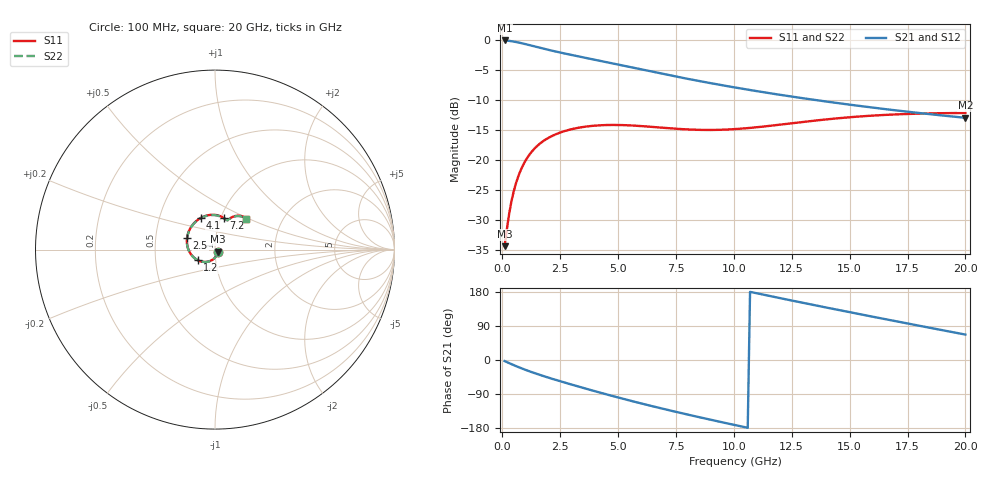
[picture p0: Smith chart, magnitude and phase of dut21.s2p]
! Touchstone file exported from HFSS 2023.1.0
!  File:  D:/Users/fzz/RDL_TSV/temp_RDL_TSV_21_1778743451.aedt
!  Generated:  3:33:27 %x4E0B%x5348  5%x6708 14, 2026
!  Design:  RDL_TSV
!  Project:  temp_RDL_TSV_21_1778743451
!  Setup:  Setup1
!  Solution:  Sweep
! Variables:
!  dtsv = 20.08um
!  hbump = 3um
!  htsv = 97.84um
!  ldown = 483.92um
!  lrdl = 539.47um
!  p = 40
!  p1 = 48.72um
!  rhole = 10um
!  subl = 3609.64um
!  t = 450um
!  tdown = 3.31um
!  trdl = 4.92um
!  viad = 10um
!  wdown = 15.24um
!  wrdl = 27.25um
!  xbump = 18um
# GHz S MA R 50.000000
! Terminal data exported
! Port[1] = TM1_1_T1
! Port[2] = TM1_4_T1
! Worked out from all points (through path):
!   200 points, 100 MHz to 20 GHz, reference 50 ohm
!   highest |S21| = -0.15 dB at 100 MHz (marker M1); lowest = -13.0 dB at 20 GHz (marker M2)
!   group delay of S21, straight-line fit = 38.6 ps
!   lowest |S11| = -34.3 dB at 100 MHz (marker M3), VSWR 1.04, Z = 51.5 - j1.21 ohm
!   |S11| at or under -10 dB: start of sweep to end of sweep
!   |S22| runs from -34.3 to -12.3 dB; largest |S21 - S12| = 1.8e-14
!   S11 on the Smith chart (normalised r, x): 100 MHz: 1.03, -0.02; 1.2 GHz: 0.82, -0.10; 2.5 GHz: 0.73, +0.10; 4.1 GHz: 0.80, +0.29; 7.2 GHz: 1.03, +0.38; 20 GHz: 1.32, +0.49
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0.1  0.01923 -37.7  0.9827 -2.8  0.9827 -2.8  0.01924 -37.7
! Gamma 0 0 0 0
! Port Impedance 50 0 50 0
0.3  0.03609 -78.9  0.9745 -8.4  0.9745 -8.4  0.0361 -78.8
0.5  0.0555 -100.9  0.9616 -13.7  0.9616 -13.7  0.05551 -100.8
0.6  0.06494 -109.4  0.9537 -16.3  0.9537 -16.3  0.06495 -109.3
0.8  0.08266 -124.1  0.9358 -21.2  0.9358 -21.2  0.08266 -124.0
1.2  0.1126 -148.1  0.8958 -30.5  0.8958 -30.5  0.1125 -148.0
1.8  0.1447 -176.7  0.8378 -42.8  0.8378 -42.8  0.1445 -176.5
2.5  0.1689 157.1  0.7801 -56.0  0.7801 -56.0  0.1683 157.4
3.5  0.188 128.3  0.7106 -73.8  0.7106 -73.8  0.187 128.6
4.1  0.1934 114.7  0.6726 -84.0  0.6726 -84.0  0.1922 115.0
4.8  0.1953 101.5  0.6307 -95.6  0.6307 -95.6  0.1939 101.8
5.5  0.1938 90.9  0.5911 -106.9  0.5911 -106.9  0.1922 91.2
6.8  0.186 77.4  0.5246 -126.7  0.5246 -126.7  0.1844 77.6
7.2  0.1834 74.6  0.5062 -132.5  0.5062 -132.5  0.1818 74.8
8.6  0.1777 68.7  0.4487 -152.3  0.4487 -152.3  0.1761 68.9
10.1  0.1807 66.2  0.3983 -172.4  0.3983 -172.4  0.1792 66.4
11.8  0.1944 64.0  0.3523 165.7  0.3523 165.7  0.1928 64.1
13.4  0.2112 60.8  0.317 145.7  0.317 145.7  0.2092 60.7
15  0.2263 56.6  0.2879 126.2  0.2879 126.2  0.224 56.5
16.7  0.2376 51.9  0.2621 105.9  0.2621 105.9  0.235 51.8
18.3  0.2433 48.0  0.2419 87.0  0.2419 87.0  0.2405 47.8
20  0.2457 44.7  0.2239 67.1  0.2239 67.1  0.2426 44.5
